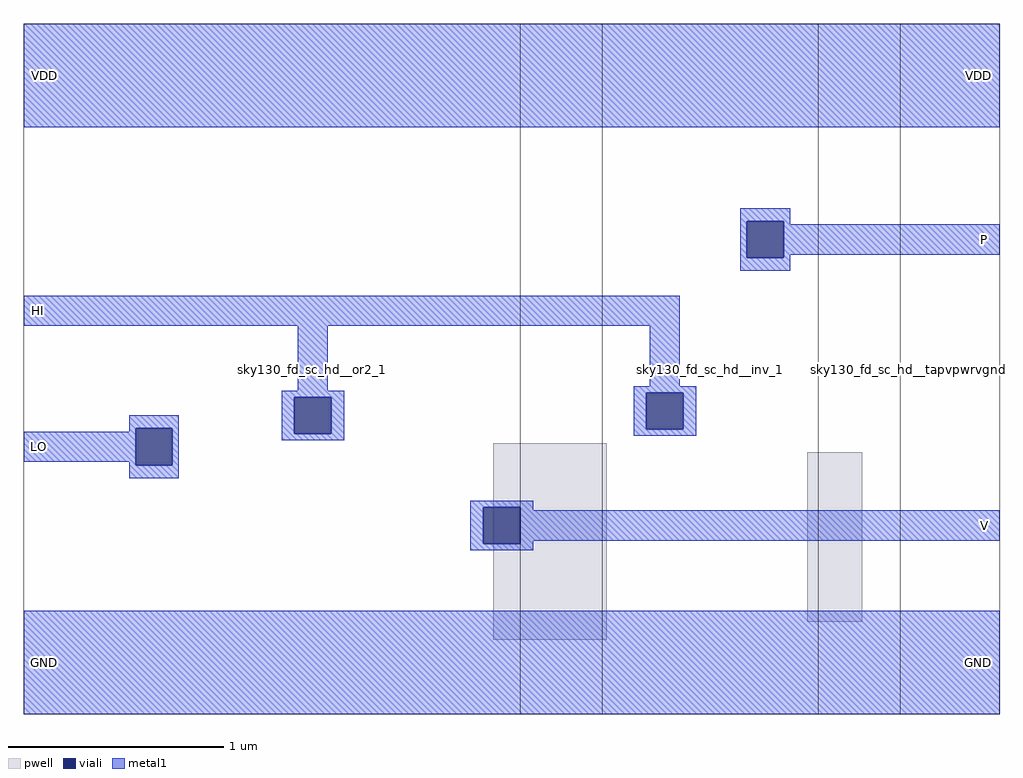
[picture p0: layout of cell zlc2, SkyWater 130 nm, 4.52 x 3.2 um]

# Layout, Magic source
magic
tech sky130A
magscale 1 2
<< pwell >>
rect 41 -1019 146 -837
rect 332 -1002 383 -845
<< viali >>
rect 276 -665 310 -631
rect -290 -857 -256 -823
rect -143 -828 -109 -794
rect 183 -824 217 -790
rect 32 -930 66 -896
<< metal1 >>
rect -394 -544 510 -448
rect 270 -631 316 -619
rect 270 -665 276 -631
rect 310 -634 316 -631
rect 310 -662 510 -634
rect 310 -665 316 -662
rect 270 -677 316 -665
rect -394 -728 214 -700
rect -140 -788 -112 -728
rect 186 -784 214 -728
rect -155 -794 -97 -788
rect -296 -823 -250 -811
rect -296 -826 -290 -823
rect -394 -854 -290 -826
rect -296 -857 -290 -854
rect -256 -857 -250 -823
rect -155 -828 -143 -794
rect -109 -828 -97 -794
rect -155 -834 -97 -828
rect 171 -790 229 -784
rect 171 -824 183 -790
rect 217 -824 229 -790
rect 171 -830 229 -824
rect -296 -869 -250 -857
rect 20 -896 78 -890
rect 20 -930 32 -896
rect 66 -899 78 -896
rect 66 -927 510 -899
rect 66 -930 78 -927
rect 20 -936 78 -930
rect -394 -1088 510 -992
use sky130_fd_sc_hd__tapvpwrvgnd_1  sky130_fd_sc_hd__tapvpwrvgnd_1_0 $PDKPATH/libs.ref/sky130_fd_sc_hd/mag
transform 1 0 380 0 1 -1040
box -38 -48 130 592
use sky130_fd_sc_hd__or2_1  x1 $PDKPATH/libs.ref/sky130_fd_sc_hd/mag
transform 1 0 -356 0 1 -1040
box -38 -48 498 592
use sky130_fd_sc_hd__inv_1  x2 $PDKPATH/libs.ref/sky130_fd_sc_hd/mag
transform 1 0 104 0 1 -1040
box -38 -48 314 592
<< labels >>
rlabel metal1 -394 -854 -366 -826 1 LO
port 2 n signal input
rlabel metal1 482 -662 510 -634 1 P
port 3 n signal output
rlabel metal1 -394 -544 -356 -448 1 VDD
port 5 n power input
rlabel metal1 472 -544 510 -448 1 VDD
port 5 n power input
rlabel metal1 -394 -1088 -356 -992 1 GND
port 6 n ground input
rlabel metal1 472 -1088 510 -992 1 GND
port 6 n ground input
rlabel metal1 -394 -728 -366 -700 1 HI
port 1 n signal input
rlabel metal1 482 -927 510 -899 1 V
port 4 n signal output
<< end >>
